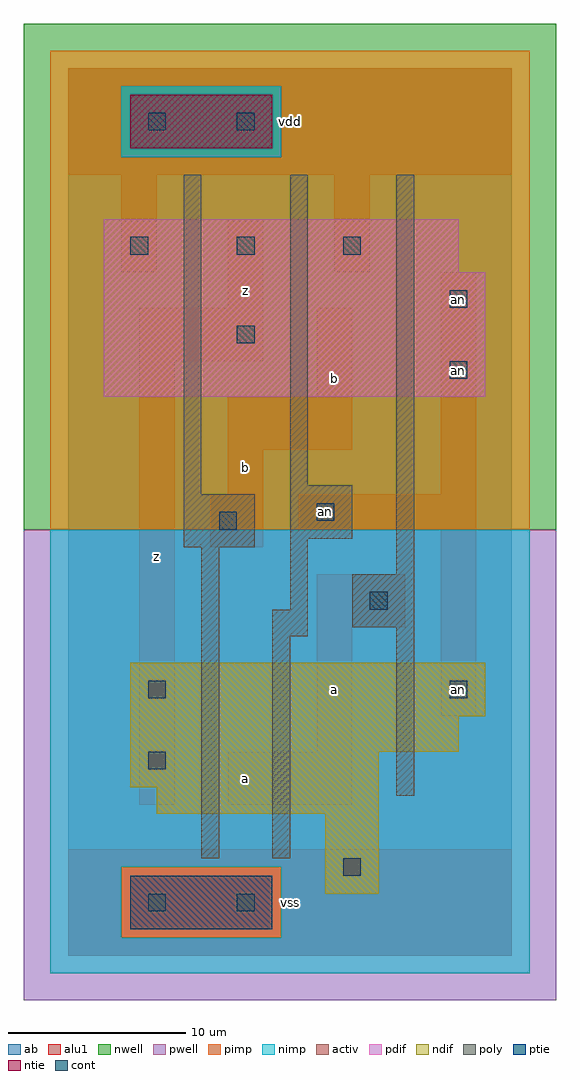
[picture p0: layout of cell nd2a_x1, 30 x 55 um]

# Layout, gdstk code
import gdstk
lib = gdstk.Library(unit=1e-6, precision=1e-09)
def R(c, l, rs):  # rectangles x0, y0, x1, y1
    for r in rs: c.add(gdstk.rectangle(r[:2], r[2:], *l))
def A(c, l, x, y, w, h, nx, ny, dx, dy):  # array of equal rectangles
    R(c, l, [(x+i*dx, y+j*dy, x+i*dx+w, y+j*dy+h) for i in range(nx) for j in range(ny)])
ndif = (3, 0)
pdif = (4, 0)
ntie = (5, 0)
ptie = (6, 0)
cont = (25, 0)
pwell = (41, 0)
nwell = (42, 0)
activ = (43, 0)
pimp = (44, 0)
nimp = (45, 0)
poly = (46, 0)
alu1 = (49, 0)
ab = (63, 0)

nd2a_x1 = lib.new_cell('nd2a_x1')
R(nd2a_x1, ndif, [(14.5,3.5,17.5,8), (5,8,17.5,9.5), (3.5,9.5,17.5,11.5), (3.5,11.5,22,13.5), (3.5,13.5,23.5,16.5)])
R(nd2a_x1, pdif, [(2,31.5,23.5,38.5), (2,38.5,22,41.5)])
R(nd2a_x1, ntie, [(3.5,45.5,11.5,48.5)])
R(nd2a_x1, ptie, [(3.5,1.5,11.5,4.5)])
A(nd2a_x1, cont, 3.5, 39.5, 1, 1, 3, 1, 6, 0)
R(nd2a_x1, cont, [(4.5,2.5,5.5,3.5), (9.5,2.5,10.5,3.5), (15.5,4.5,16.5,5.5), (4.5,10.5,5.5,11.5), (4.5,14.5,5.5,15.5), (21.5,14.5,22.5,15.5), (17,19.5,18,20.5), (8.5,24,9.5,25), (14,24.5,15,25.5), (21.5,32.5,22.5,33.5), (9.5,34.5,10.5,35.5), (21.5,36.5,22.5,37.5), (4.5,46.5,5.5,47.5), (9.5,46.5,10.5,47.5)])
R(nd2a_x1, pwell, [(-2.5,-2.5,27.5,24)])
R(nd2a_x1, nwell, [(-2.5,24,27.5,52.5)])
R(nd2a_x1, activ, [(3.5,1.5,11.5,4.5), (14.5,3.5,17.5,8), (5,8,17.5,9.5), (3.5,9.5,17.5,11.5), (3.5,11.5,22,13.5), (3.5,13.5,23.5,16.5), (2,31.5,23.5,38.5), (2,38.5,22,41.5), (3.5,45.5,11.5,48.5)])
R(nd2a_x1, pimp, [(3,1,12,5), (-1,24,26,45), (-1,45,3,49), (12,45,26,49), (-1,49,26,51)])
R(nd2a_x1, nimp, [(-1,-1,26,1), (-1,1,3,5), (12,1,26,5), (-1,5,26,24), (3,45,12,49)])
R(nd2a_x1, poly, [(7.5,5.5,8.5,23), (11.5,5.5,12.5,18), (18.5,9,19.5,18.5), (11.5,18,13.5,19.5), (16,18.5,19.5,21.5), (12.5,19.5,13.5,23.5), (18.5,21.5,19.5,44), (6.5,23,10.5,26), (12.5,23.5,16,26.5), (6.5,26,7.5,44), (12.5,26.5,13.5,44)])
R(nd2a_x1, alu1, [(0,0,25,6), (0,0,25,6), (4,8.5,6,33.5), (4,8.5,6,33.5), (9,8.5,16,11.5), (9,8.5,16,11.5), (14,11.5,16,18.5), (14,11.5,16,18.5), (21,13.5,23,24), (21,13.5,23,24), (14,18.5,19,21.5), (14,18.5,19,21.5), (8,23,11,26), (8,23,11,26), (13,24,23,26), (13,24,23,26), (9,26,11,28.5), (9,26,11,28.5), (21,26,23,38.5), (21,26,23,38.5), (9,28.5,16,31.5), (9,28.5,16,31.5), (14,31.5,16,36.5), (14,31.5,16,36.5), (4,33.5,11,36.5), (4,33.5,11,36.5), (9,36.5,11,41.5), (9,36.5,11,41.5), (3,38.5,5,44), (3,38.5,5,44), (15,38.5,17,44), (15,38.5,17,44), (0,44,25,50), (0,44,25,50)])
R(nd2a_x1, ab, [(0,0,25,50)])
nd2a_x1.add(gdstk.Label('an', (14.5,25), layer=49, texttype=0))
nd2a_x1.add(gdstk.Label('an', (22,15), layer=49, texttype=0))
nd2a_x1.add(gdstk.Label('an', (22,33), layer=49, texttype=0))
nd2a_x1.add(gdstk.Label('an', (22,37), layer=49, texttype=0))
nd2a_x1.add(gdstk.Label('a', (10,10), layer=49, texttype=0))
nd2a_x1.add(gdstk.Label('z', (5,22.5), layer=49, texttype=0))
nd2a_x1.add(gdstk.Label('b', (10,27.5), layer=49, texttype=0))
nd2a_x1.add(gdstk.Label('z', (10,37.5), layer=49, texttype=0))
nd2a_x1.add(gdstk.Label('vss', (12.5,3), layer=49, texttype=0))
nd2a_x1.add(gdstk.Label('a', (15,15), layer=49, texttype=0))
nd2a_x1.add(gdstk.Label('b', (15,32.5), layer=49, texttype=0))
nd2a_x1.add(gdstk.Label('vdd', (12.5,47), layer=49, texttype=0))

lib.write_gds('nd2a_x1.gds')
